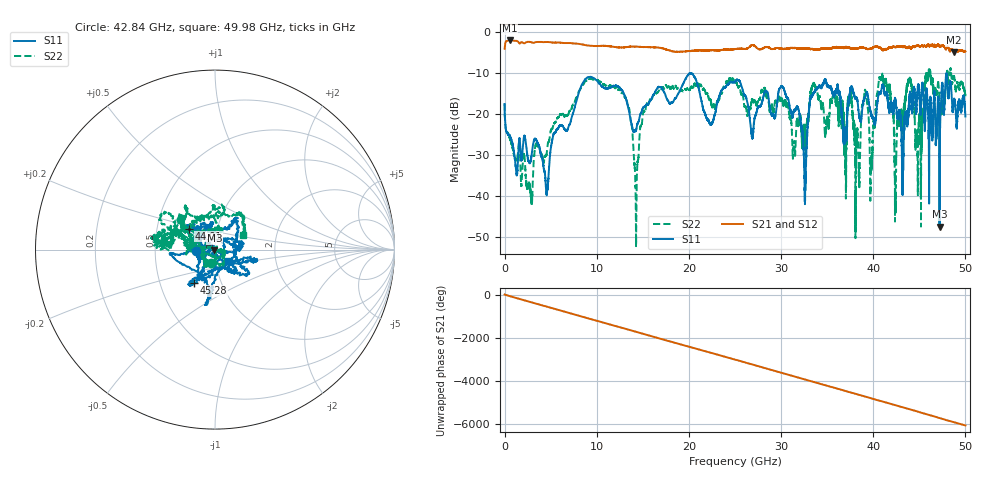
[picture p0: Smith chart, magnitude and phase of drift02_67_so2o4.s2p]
!Created with skrf (http://scikit-rf.org).
# Hz S RI R 50.0
!freq ReS11 ImS11 ReS21 ImS21 ReS12 ImS12 ReS22 ImS22
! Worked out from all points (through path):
!   10001 points, 300 kHz to 50 GHz, reference 50 ohm
!   highest |S21| = -1.99 dB at 555.3 MHz (marker M1); lowest = -4.9 dB at 48.77 GHz (marker M2)
!   group delay of S21, straight-line fit = 337 ps
!   lowest |S11| = -47.4 dB at 47.2 GHz (marker M3), VSWR 1.01, Z = 49.7 - j0.31 ohm
!   |S11| at or under -10 dB: start of sweep to 20.07 GHz; 20.20655 GHz to 20.22194 GHz (15.39 MHz wide, 0.0761 % of centre); 20.24 GHz to end of sweep (the widest 3 of 4)
!   |S22| runs from -52.1 to -8.7 dB; largest |S21 - S12| = 0.03
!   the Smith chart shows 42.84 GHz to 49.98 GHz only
!   S11 on the Smith chart (normalised r, x): 42.84 GHz: 0.81, -0.01; 44.01 GHz: 0.73, +0.18; 45.28 GHz: 0.74, -0.29; 49.98 GHz: 1.15, -0.15
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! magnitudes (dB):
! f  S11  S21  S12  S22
! 300 kHz  -17.5  -4.0  -4.0  -17.3
! 555.3 MHz  -25.1  -2.0  -2.0  -25.9
! 2.78 GHz  -31.8  -2.4  -2.4  -38.4
! 4.565 GHz  -39.8  -2.4  -2.4  -29.5
! 8.335 GHz  -13.0  -2.9  -2.9  -13.2
! 13.01 GHz  -15.3  -3.6  -3.6  -15.7
! 14.28 GHz  -23.8  -3.5  -3.5  -48.3
! 16.67 GHz  -13.3  -3.7  -3.7  -14.5
! 25 GHz  -12.1  -4.1  -4.1  -12.1
! 30.19 GHz  -13.4  -4.1  -4.1  -17.0
! 32.58 GHz  -38.3  -4.0  -4.0  -24.1
! 33.34 GHz  -15.7  -4.0  -4.1  -13.6
! 37.48 GHz  -14.5  -3.8  -3.8  -16.2
! 38.29 GHz  -16.8  -3.9  -3.9  -23.7
! 41.67 GHz  -18.4  -3.8  -3.9  -12.7
! 42.84 GHz  -19.5  -3.5  -3.5  -22.1
! 44.01 GHz  -14.7  -3.8  -3.8  -11.6
! 45.28 GHz  -13.2  -3.2  -3.2  -25.5
! 47.2 GHz  -47.4  -3.5  -3.4  -17.0
! 48.77 GHz  -16.9  -4.9  -4.8  -10.7
! 49.98 GHz  -20.0  -4.6  -4.5  -15.0
! 50 GHz  -20.5  -4.6  -4.6  -15.6
